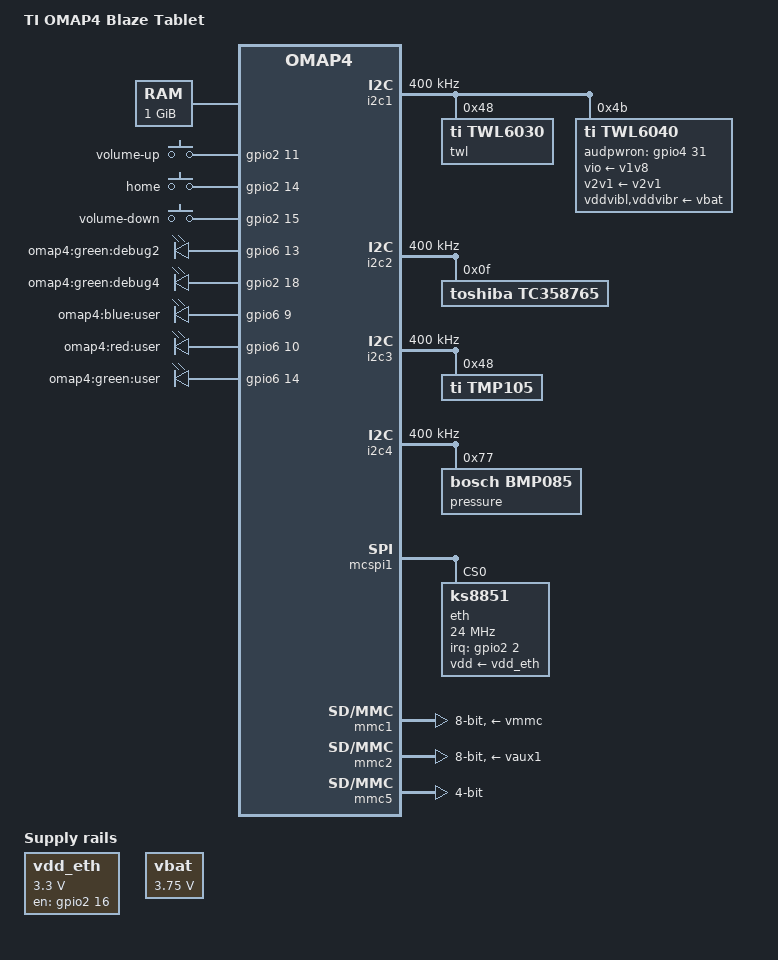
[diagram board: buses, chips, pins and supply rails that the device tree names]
/*
 * Copyright (C) 2013 Texas Instruments Incorporated - http://www.ti.com/
 *
 * Author: Ruslan Bilovol <ruslan.bilovol@ti.com>
 *
 * based on omap4-sdp.dts
 *
 * This program is free software; you can redistribute it and/or modify
 * it under the terms of the GNU General Public License version 2 as
 * published by the Free Software Foundation.
 */
/dts-v1/;

/include/ "omap4.dtsi"
/include/ "elpida_ecb240abacn.dtsi"

/ {
	model = "TI OMAP4 Blaze Tablet";
	compatible = "ti,omap4-blazetablet", "ti,omap4430", "ti,omap4";

	chosen {
		bootargs = "console=ttyO2,115200n8 androidboot.console=ttyO2 omap_wdt.timer_margin=30 vmalloc=496M";
	};

	memory {
		device_type = "memory";
		reg = <0x80000000 0x40000000>; /* 1 GB */
	};

	vdd_eth: fixedregulator-vdd-eth {
		compatible = "regulator-fixed";
		regulator-name = "VDD_ETH";
		regulator-min-microvolt = <3300000>;
		regulator-max-microvolt = <3300000>;
		gpio = <&gpio2 16 0>;  /* gpio line 48 */
		enable-active-high;
		regulator-boot-on;
	};

	vbat: fixedregulator-vbat {
		compatible = "regulator-fixed";
		regulator-name = "VBAT";
		regulator-min-microvolt = <3750000>;
		regulator-max-microvolt = <3750000>;
		regulator-boot-on;
	};

	gpio_keys {
		compatible = "gpio-keys";

		volume_up {
			label = "volume-up";
			linux,code = <115>;	/* KEY_VOLUMEUP */
			gpios = <&gpio2 11 0>;	/* 43 */
			gpio-key,wakeup;
		};

		home {
			label = "home";
			linux,code = <102>;	/* KEY_HOME */
			gpios = <&gpio2 14 0>;	/* 46 */
			gpio-key,wakeup;
		};

		volume_down {
			label = "volume-down";
			linux,code = <114>;	/* KEY_VOLUMEDOWN */
			gpios = <&gpio2 15 0>;	/* 47 */
			gpio-key,wakeup;
		};
	};

	leds {
		compatible = "gpio-leds";

		debug2 {
			label = "omap4:green:debug2";
			gpios = <&gpio6 13 0>; /* 173 */
		};

		debug4 {
			label = "omap4:green:debug4";
			gpios = <&gpio2 18 0>; /* 50 */
		};

		user1 {
			label = "omap4:blue:user";
			gpios = <&gpio6 9 0>; /* 169 */
		};

		user2 {
			label = "omap4:red:user";
			gpios = <&gpio6 10 0>; /* 170 */
		};

		user3 {
			label = "omap4:green:user";
			gpios = <&gpio6 14 0>; /* 174 */
		};
	};

	sound {
		compatible = "ti,abe-twl6040";
		ti,model = "BlazeTablet";

		ti,jack-detection = <1>;
		ti,mclk-freq = <38400000>;

		ti,mcpdm = <&mcpdm>;
		ti,dmic = <&dmic>;

		ti,twl6040 = <&twl6040>;

		/* Audio routing */
		ti,audio-routing =
			"Headset Stereophone", "HSOL",
			"Headset Stereophone", "HSOR",
			"Ext Spk", "HFL",
			"Ext Spk", "HFR",
			"Line Out", "AUXL",
			"Line Out", "AUXR",
			"Vibrator", "VIBRAL",
			"Vibrator", "VIBRAR",
			"HSMIC", "Headset Mic",
			"Headset Mic", "Headset Mic Bias",
			"MAINMIC", "Main Handset Mic",
			"Main Handset Mic", "Main Mic Bias",
			"SUBMIC", "Sub Handset Mic",
			"Sub Handset Mic", "Main Mic Bias",
			"AFML", "Line In",
			"AFMR", "Line In",
			"DMic", "Digital Mic",
			"Digital Mic", "Digital Mic1 Bias";
	};
};

&omap4_pmx_core {
	pinctrl-names = "default";
	pinctrl-0 = <
			&twl6040_pins
			&mcpdm_pins
			&dmic_pins
			&mcbsp1_pins
			&mcbsp2_pins
			&dss_hdmi_pins
			&tpd12s015_pins
			&gpio_keys_pins
			&leds_pins
	>;

	gpio_keys_pins: pinmux_gpio_keys_pins {
		pinctrl-single,pins = <
			0x26 0x11B	/* gpmc_a19.gpio_43 INPUT_PULLUP | MODE3 */
			0x2C 0x11B	/* gpmc_a22.gpio_46 INPUT_PULLUP | MODE3 */
			0x2E 0x11B	/* gpmc_a22.gpio_47 INPUT_PULLUP | MODE3 */
		>;
	};

	leds_pins: pinmux_led_pins {
		pinctrl-single,pins = <
			0x34 0x3	/* gpmc_ncs0.gpio_50 OUTPUT | MODE3 */
			0x138 0x3	/* usbb2_hsic_data.gpio_169 OUTPUT | MODE3 */
			0x13a 0x3	/* usbb2_hsic_strobe.gpio_170 OUTPUT | MODE3 */
			0x140 0x3	/* kpd_col5.gpio_173 OUTPUT | MODE3 */
			0x142 0x3	/* kpd_col5.gpio_174 OUTPUT | MODE3 */
		>;
	};

	uart2_pins: pinmux_uart2_pins {
		pinctrl-single,pins = <
			0xd8 0x118	/* uart2_cts.uart2_cts INPUT_PULLUP | MODE0 */
			0xda 0		/* uart2_rts.uart2_rts OUTPUT | MODE0 */
			0xdc 0x118	/* uart2_rx.uart2_rx INPUT_PULLUP | MODE0 */
			0xde 0		/* uart2_tx.uart2_tx OUTPUT | MODE0 */
		>;
	};

	uart3_pins: pinmux_uart3_pins {
		pinctrl-single,pins = <
			0x100 0x118	/* uart3_cts_rctx.uart3_cts_rctx INPUT_PULLUP | MODE0 */
			0x102 0		/* uart3_rts_sd.uart3_rts_sd OUTPUT | MODE0 */
			0x104 0x100	/* uart3_rx_irrx.uart3_rx_irrx INPUT | MODE0 */
			0x106 0		/* uart3_tx_irtx.uart3_tx_irtx OUTPUT | MODE0 */
		>;
	};

	uart4_pins: pinmux_uart4_pins {
		pinctrl-single,pins = <
			0x11c 0x100	/* uart4_rx.uart4_rx INPUT | MODE0 */
			0x11e 0		/* uart4_tx.uart4_tx OUTPUT | MODE0 */
		>;
	};

	twl6040_pins: pinmux_twl6040_pins {
		pinctrl-single,pins = <
			0xe0 0x3	/* hdq_sio.gpio_127 OUTPUT | MODE3 */
			0x160 0x100	/* sys_nirq2.sys_nirq2 INPUT | MODE0 */
		>;
	};

	mcpdm_pins: pinmux_mcpdm_pins {
		pinctrl-single,pins = <
			0xc6 0x108	/* abe_pdm_ul_data.abe_pdm_ul_data INPUT PULLDOWN | MODE0 */
			0xc8 0x108	/* abe_pdm_dl_data.abe_pdm_dl_data INPUT PULLDOWN | MODE0 */
			0xca 0x118	/* abe_pdm_frame.abe_pdm_frame INPUT PULLUP | MODE0 */
			0xcc 0x108	/* abe_pdm_lb_clk.abe_pdm_lb_clk INPUT PULLDOWN | MODE0 */
			0xce 0x108	/* abe_clks.abe_clks INPUT PULLDOWN | MODE0 */
		>;
	};

	dmic_pins: pinmux_dmic_pins {
		pinctrl-single,pins = <
			0xd0 0		/* abe_dmic_clk1.abe_dmic_clk1 OUTPUT | MODE0 */
			0xd2 0x100	/* abe_dmic_din1.abe_dmic_din1 INPUT | MODE0 */
			0xd4 0x100	/* abe_dmic_din2.abe_dmic_din2 INPUT | MODE0 */
			0xd6 0x100	/* abe_dmic_din3.abe_dmic_din3 INPUT | MODE0 */
		>;
	};

	mcbsp1_pins: pinmux_mcbsp1_pins {
		pinctrl-single,pins = <
			0xbe 0x100	/* abe_mcbsp1_clkx.abe_mcbsp1_clkx INPUT | MODE0 */
			0xc0 0x108	/* abe_mcbsp1_dr.abe_mcbsp1_dr INPUT PULLDOWN | MODE0 */
			0xc2 0x8	/* abe_mcbsp1_dx.abe_mcbsp1_dx OUTPUT PULLDOWN | MODE0 */
			0xc4 0x100	/* abe_mcbsp1_fsx.abe_mcbsp1_fsx INPUT | MODE0 */
		>;
	};

	mcbsp2_pins: pinmux_mcbsp2_pins {
		pinctrl-single,pins = <
			0xb6 0x100	/* abe_mcbsp2_clkx.abe_mcbsp2_clkx INPUT | MODE0 */
			0xb8 0x108	/* abe_mcbsp2_dr.abe_mcbsp2_dr INPUT PULLDOWN | MODE0 */
			0xba 0x8	/* abe_mcbsp2_dx.abe_mcbsp2_dx OUTPUT PULLDOWN | MODE0 */
			0xbc 0x100	/* abe_mcbsp2_fsx.abe_mcbsp2_fsx INPUT | MODE0 */
		>;
	};

	dss_hdmi_pins: pinmux_dss_hdmi_pins {
		pinctrl-single,pins = <
			0x5a 0x118	/* hdmi_cec.hdmi_cec INPUT PULLUP | MODE 0 */
			0x5c 0x118	/* hdmi_scl.hdmi_scl INPUT PULLUP | MODE 0 */
			0x5e 0x118	/* hdmi_sda.hdmi_sda INPUT PULLUP | MODE 0 */
		>;
	};

	tpd12s015_pins: pinmux_tpd12s015_pins {
		pinctrl-single,pins = <
			0x22 0x3	/* gpmc_a17.gpio_41 OUTPUT | MODE3 */
			0x48 0x3	/* gpmc_nbe1.gpio_60 OUTPUT | MODE3 */
			0x58 0x10b	/* hdmi_hpd.gpio_63 INPUT PULLDOWN | MODE3 */
		>;
	};
};

&omap4_pmx_wkup	{
	pinctrl-names = "default";
	pinctrl-0 = <
			&dss_dsi_panel_pins
	>;

	dss_dsi_panel_pins: pinmux_dss_dsi_panel_pins {
		pinctrl-single,pins = <
			0x1C 0x118	/* fref_clk4_out.fref_clk4_out INPUT_PULLUP | MODE0 */
		>;
	};
};

&i2c1 {
	clock-frequency = <400000>;

	twl: twl@48 {
		compatible = "ti,twl6030";
		reg = <0x48>;
		/* SPI = 0, IRQ# = 7, 4 = active high level-sensitive */
		interrupts = <0 7 4>; /* IRQ_SYS_1N cascaded to gic */
		interrupt-parent = <&gic>;
	};

	twl6040: twl@4b {
		compatible = "ti,twl6040";
		reg = <0x4b>;
		/* SPI = 0, IRQ# = 119, 4 = active high level-sensitive */
		interrupts = <0 119 4>; /* IRQ_SYS_2N cascaded to gic */
		interrupt-parent = <&gic>;
		ti,audpwron-gpio = <&gpio4 31 0>;  /* gpio line 127 */

		vio-supply = <&v1v8>;
		v2v1-supply = <&v2v1>;
		enable-active-high;

		/* regulators for vibra motor */
		vddvibl-supply = <&vbat>;
		vddvibr-supply = <&vbat>;

		vibra {
			/* Vibra driver, motor resistance parameters */
			ti,vibldrv-res = <8>;
			ti,vibrdrv-res = <3>;
			ti,viblmotor-res = <10>;
			ti,vibrmotor-res = <10>;
			ti,vddvibl-uV = <0>;	/* fixed volt supply - VBAT */
			ti,vddvibr-uV = <0>;	/* fixed volt supply - VBAT */
		};
	};
};

/include/ "twl6030.dtsi"

&i2c2 {
	clock-frequency = <400000>;

	/*
	 * Toshiba TC358765 DSI-to-LVDS chip driver
	 */
	tc358765@0f {
		compatible = "toshiba,tc358765";
		reg = <0x0f>;
	};
};

&i2c3 {
	clock-frequency = <400000>;

	/*
	 * Temperature Sensor
	 * http://www.ti.com/lit/ds/symlink/tmp105.pdf
	 */
	tmp105@48 {
		compatible = "ti,tmp105";
		reg = <0x48>;
	};
};

&i2c4 {
	clock-frequency = <400000>;

	/*
	 * BMP085 digital pressure sensor
	 */
	pressure@77 {
		compatible = "bosch,bmp085";
		reg = <0x77>;
	};
};

&mcspi1 {
	eth@0 {
		compatible = "ks8851";
		spi-max-frequency = <24000000>;
		reg = <0>;
		interrupt-parent = <&gpio2>;
		interrupts = <2>; /* gpio line 34 */
		vdd-supply = <&vdd_eth>;
	};
};

&mmc1 {
	vmmc-supply = <&vmmc>;
	bus-width = <8>;
};

&mmc2 {
	vmmc-supply = <&vaux1>;
	bus-width = <8>;
	ti,non-removable;
};

&mmc3 {
	status = "disabled";
};

&mmc4 {
	status = "disabled";
};

&mmc5 {
	bus-width = <4>;
	ti,non-removable;
};

&emif1 {
	cs1-used;
	device-handle = <&elpida_ECB240ABACN>;
};

&emif2 {
	cs1-used;
	device-handle = <&elpida_ECB240ABACN>;
};

&uart2 {
	pinctrl-names = "default";
	pinctrl-0 = <&uart2_pins>;
};

&uart3 {
	pinctrl-names = "default";
	pinctrl-0 = <&uart3_pins>;
};

&uart4 {
	pinctrl-names = "default";
	pinctrl-0 = <&uart4_pins>;
};

&mcbsp3 {
	status = "disabled";
};

&twl_usb_comparator {
	usb-supply = <&vusb>;
};
